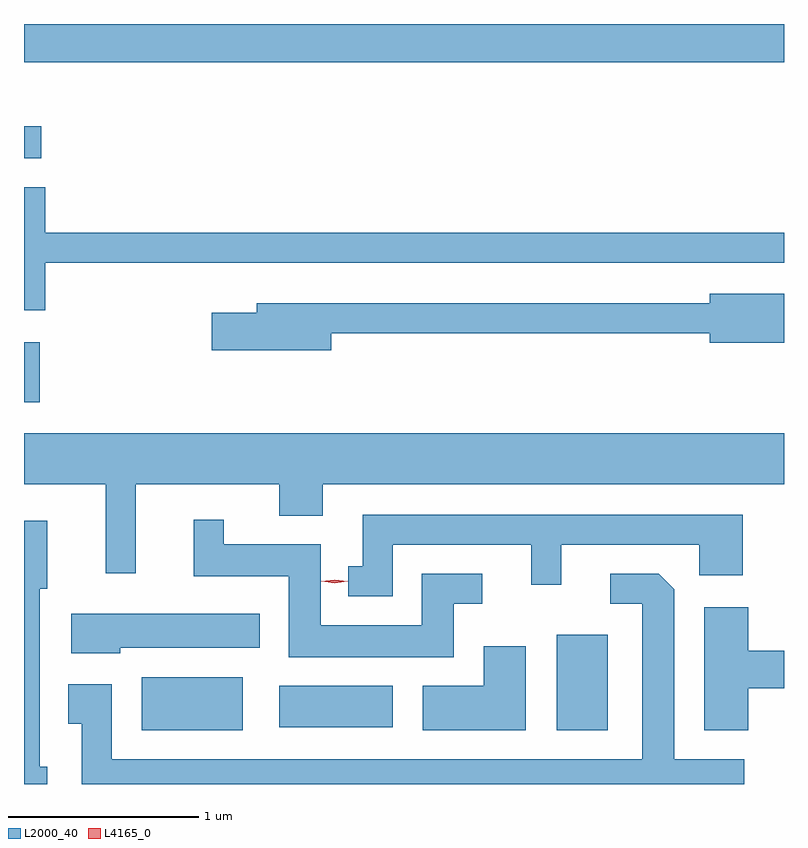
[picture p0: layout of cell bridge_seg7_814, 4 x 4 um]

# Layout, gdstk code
import gdstk
lib = gdstk.Library(unit=1e-6, precision=1e-09)
def R(c, l, rs):  # rectangles x0, y0, x1, y1
    for r in rs: c.add(gdstk.rectangle(r[:2], r[2:], *l))
def P(c, l, *ps):  # polygons
    for p in ps: c.add(gdstk.Polygon(p, *l))
L2000_40 = (2000, 40)
L4165_0 = (4165, 0)

bridge_seg7_814 = lib.new_cell('bridge_seg7_814')
R(bridge_seg7_814, L2000_40, [(408.036,1748.541,408.569,1748.819), (410.221,1748.541,410.489,1749.044), (408.761,1748.556,409.359,1748.774), (407.417,1750.266,407.499,1750.584), (407.417,1751.551,407.508,1751.719), (407.417,1752.056,411.417,1752.258)])
P(bridge_seg7_814, L2000_40, [(407.529,1751.001),(411.417,1751.001),(411.417,1751.159),(407.529,1751.159),(407.529,1751.399),(407.417,1751.399),(407.417,1750.751),(407.529,1750.751)],
  [(409.034,1750.631),(411.026,1750.631),(411.026,1750.581),(411.417,1750.581),(411.417,1750.839),(411.026,1750.839),(411.026,1750.789),(408.641,1750.789),(408.641,1750.739),(408.406,1750.739),(408.406,1750.541),(409.034,1750.541)],
  [(408.004,1749.836),(408.761,1749.836),(408.761,1749.671),(408.989,1749.671),(408.989,1749.836),(411.417,1749.836),(411.417,1750.104),(407.417,1750.104),(407.417,1749.836),(407.846,1749.836),(407.846,1749.368),(408.004,1749.368)],
  [(409.359,1749.516),(410.086,1749.516),(410.086,1749.308),(410.244,1749.308),(410.244,1749.516),(410.971,1749.516),(410.971,1749.356),(411.199,1749.356),(411.199,1749.674),(409.201,1749.674),(409.201,1749.404),(409.123,1749.404),(409.123,1749.246),(409.359,1749.246)],
  [(409.679,1749.206),(409.828,1749.206),(409.828,1749.364),(409.511,1749.364),(409.511,1749.094),(408.979,1749.094),(408.979,1749.519),(408.469,1749.519),(408.469,1749.648),(408.311,1749.648),(408.311,1749.351),(408.811,1749.351),(408.811,1748.926),(409.679,1748.926)],
  [(407.539,1748.349),(407.499,1748.349),(407.499,1749.286),(407.539,1749.286),(407.539,1749.644),(407.417,1749.644),(407.417,1748.258),(407.539,1748.258)],
  [(411.208,1748.389),(410.839,1748.389),(410.839,1749.284),(410.759,1749.364),(410.503,1749.364),(410.503,1749.206),(410.671,1749.206),(410.671,1748.389),(407.879,1748.389),(407.879,1748.784),(407.651,1748.784),(407.651,1748.576),(407.721,1748.576),(407.721,1748.258),(411.208,1748.258)],
  [(411.229,1748.761),(411.417,1748.761),(411.417,1748.959),(411.229,1748.959),(411.229,1749.189),(410.996,1749.189),(410.996,1748.541),(411.229,1748.541)],
  [(407.924,1748.976),(408.659,1748.976),(408.659,1749.154),(407.666,1749.154),(407.666,1748.946),(407.924,1748.946)],
  [(410.059,1748.984),(409.836,1748.984),(409.836,1748.774),(409.516,1748.774),(409.516,1748.541),(410.059,1748.541)])
P(bridge_seg7_814, L4165_0, [(409.052,1749.315),(408.982,1749.324),(408.982,1749.324),(408.982,1749.325),(409.052,1749.334),(409.121,1749.326),(409.121,1749.325),(409.121,1749.324)])

lib.write_gds('bridge_seg7_814.gds')
